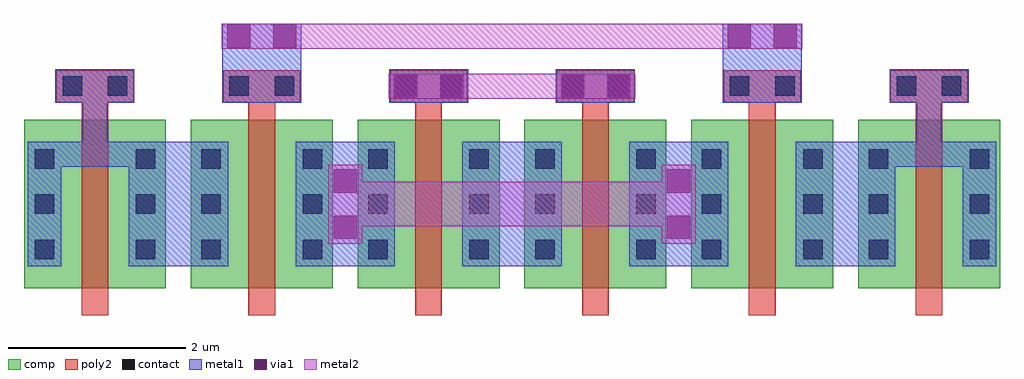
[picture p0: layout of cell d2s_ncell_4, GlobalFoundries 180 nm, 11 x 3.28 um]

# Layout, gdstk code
import gdstk
lib = gdstk.Library(unit=1e-6, precision=5e-09)
def R(c, l, rs):  # rectangles x0, y0, x1, y1
    for r in rs: c.add(gdstk.rectangle(r[:2], r[2:], *l))
def A(c, l, x, y, w, h, nx, ny, dx, dy):  # array of equal rectangles
    R(c, l, [(x+i*dx, y+j*dy, x+i*dx+w, y+j*dy+h) for i in range(nx) for j in range(ny)])
comp = (22, 0)
poly2 = (30, 0)
contact = (33, 0)
metal1 = (34, 0)
via1 = (35, 0)
metal2 = (36, 0)

d2s_ncell_1 = lib.new_cell('d2s_ncell_1')
R(d2s_ncell_1, comp, [(0,0.3,0.46,2.2), (0.46,0.3,1.14,2.2), (1.14,0.3,1.6,2.2)])
R(d2s_ncell_1, poly2, [(0.65,0,0.95,2.5)])
A(d2s_ncell_1, contact, 0.12, 0.63, 0.22, 0.22, 1, 3, 0, 0.51)
A(d2s_ncell_1, contact, 1.26, 0.63, 0.22, 0.22, 1, 3, 0, 0.51)
R(d2s_ncell_1, metal1, [(0.04,0.55,0.42,1.95), (1.18,0.55,1.56,1.95)])

d2s_ncell_4 = lib.new_cell('d2s_ncell_4')
A(d2s_ncell_4, poly2, 0.365, 2.4, 0.87, 0.36, 6, 1, 1.88, 0)
R(d2s_ncell_4, contact, [(0.435,2.47,0.655,2.69), (0.945,2.47,1.165,2.69), (2.315,2.47,2.535,2.69), (2.825,2.47,3.045,2.69), (4.195,2.47,4.415,2.69), (4.705,2.47,4.925,2.69), (6.075,2.47,6.295,2.69), (6.585,2.47,6.805,2.69), (7.955,2.47,8.175,2.69), (8.465,2.47,8.685,2.69), (9.835,2.47,10.055,2.69), (10.345,2.47,10.565,2.69)])
A(d2s_ncell_4, metal1, 1.56, 0.55, 0.36, 1.4, 5, 1, 1.88, 0)
R(d2s_ncell_4, metal1, [(0.355,2.39,1.245,2.77), (2.235,2.39,3.125,3.28), (4.115,2.39,5.005,2.77), (5.995,2.39,6.885,2.77), (7.875,2.39,8.765,3.28), (9.755,2.39,10.645,2.77)])
R(d2s_ncell_4, via1, [(3.49,0.86,3.75,1.12), (7.25,0.86,7.51,1.12), (3.49,1.38,3.75,1.64), (7.25,1.38,7.51,1.64), (4.17,2.45,4.43,2.71), (4.69,2.45,4.95,2.71), (6.055,2.45,6.315,2.71), (6.575,2.45,6.835,2.71), (2.29,3.01,2.55,3.27), (2.81,3.01,3.07,3.27), (7.93,3.01,8.19,3.27), (8.45,3.01,8.71,3.27)])
R(d2s_ncell_4, metal2, [(3.43,0.805,3.81,1.695), (7.19,0.805,7.57,1.695)])
d2s_ncell_4.add(gdstk.FlexPath([(9.82,1.81),(10.58,1.81)], 0.28, ends="flush", simple_path=True, layer=34, datatype=0))  # metal1
d2s_ncell_4.add(gdstk.FlexPath([(10.2,2.39),(10.2,1.95)], 0.28, ends="flush", simple_path=True, layer=34, datatype=0))  # metal1
d2s_ncell_4.add(gdstk.FlexPath([(0.8,2.39),(0.8,1.95)], 0.28, ends="flush", simple_path=True, layer=34, datatype=0))  # metal1
d2s_ncell_4.add(gdstk.FlexPath([(0.42,1.81),(1.18,1.81)], 0.28, ends="flush", simple_path=True, layer=34, datatype=0))  # metal1
d2s_ncell_4.add(gdstk.FlexPath([(3.81,1.25),(7.19,1.25)], 0.5, ends="flush", simple_path=True, layer=36, datatype=0))  # metal2
d2s_ncell_4.add(gdstk.FlexPath([(6.89,2.58),(4.11,2.58)], 0.28, ends="flush", simple_path=True, layer=36, datatype=0))  # metal2
d2s_ncell_4.add(gdstk.FlexPath([(8.77,3.14),(2.23,3.14)], 0.28, ends="flush", simple_path=True, layer=36, datatype=0))  # metal2
d2s_ncell_4.add(gdstk.Reference(d2s_ncell_1, (0,0)))
d2s_ncell_4.add(gdstk.Reference(d2s_ncell_1, (1.88,0)))
d2s_ncell_4.add(gdstk.Reference(d2s_ncell_1, (3.76,0)))
d2s_ncell_4.add(gdstk.Reference(d2s_ncell_1, (5.64,0)))
d2s_ncell_4.add(gdstk.Reference(d2s_ncell_1, (7.52,0)))
d2s_ncell_4.add(gdstk.Reference(d2s_ncell_1, (9.4,0)))

lib.write_gds('d2s_ncell_4.gds')
